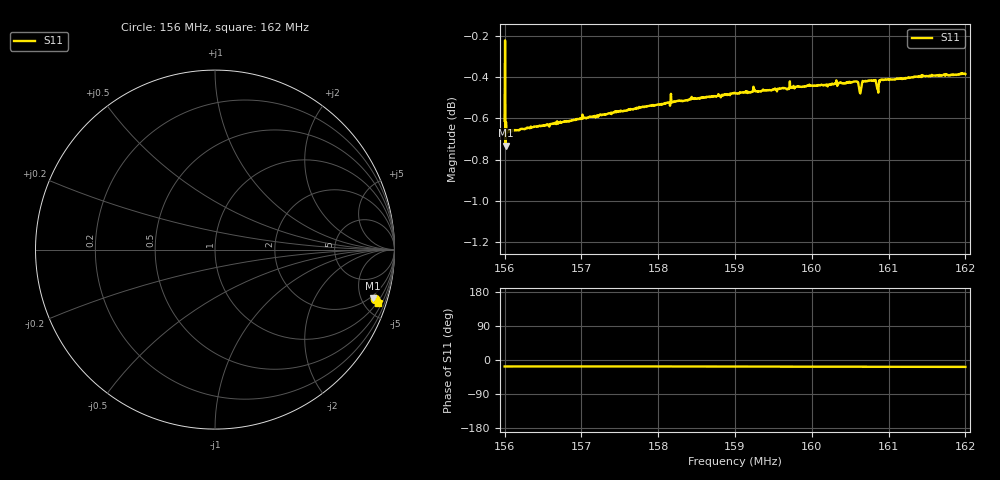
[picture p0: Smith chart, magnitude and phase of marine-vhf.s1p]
! Calibrated averaged scanner-service zoom
# Hz S RI R 50
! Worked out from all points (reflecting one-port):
!   1001 points, 156 MHz to 162 MHz, reference 50 ohm
!   lowest |S11| = -0.7 dB at 156.01 MHz (marker M1), VSWR 23.75, Z = 88 - j307 ohm
!   phase of S11 starts at -17 deg and turns -1 deg over the sweep
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1.56e8  0.8909 -0.2739
1.56012e8  0.8784 -0.2709
1.56036e8  0.8855 -0.2722
1.56042e8  0.8852 -0.2724
1.56048e8  0.8857 -0.2723
1.56054e8  0.8858 -0.2722
1.56474e8  0.8886 -0.2717
1.5675e8  0.8907 -0.2721
1.57188e8  0.8937 -0.2728
1.575e8  0.896 -0.2739
1.58124e8  0.9 -0.2767
1.5819e8  0.9001 -0.2769
1.58202e8  0.9006 -0.2771
1.5825e8  0.9007 -0.2773
1.59e8  0.9035 -0.282
1.5975e8  0.9053 -0.286
1.60182e8  0.9058 -0.2887
1.605e8  0.9069 -0.2903
1.60572e8  0.9073 -0.2909
1.60626e8  0.9018 -0.2884
1.60644e8  0.9039 -0.2896
1.60692e8  0.9072 -0.2915
1.608e8  0.9074 -0.2922
1.60836e8  0.9064 -0.292
1.60866e8  0.9011 -0.2905
1.6092e8  0.9077 -0.2928
1.6125e8  0.9081 -0.2948
1.62e8  0.9087 -0.2993
